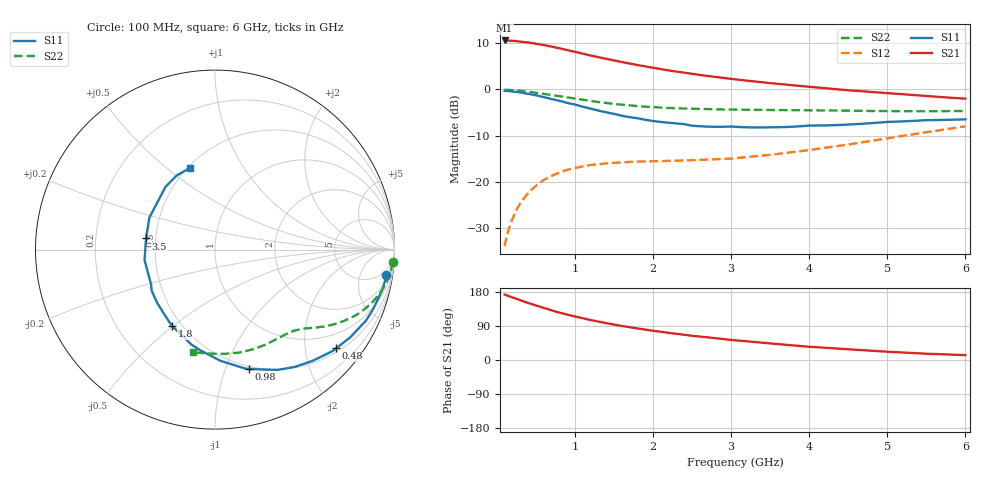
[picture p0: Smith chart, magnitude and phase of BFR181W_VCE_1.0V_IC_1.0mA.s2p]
! Infineon Technologies  Discrete & RF Semiconductors
! BFR181W
! VCE =  1.0 V,  IC =  1.0 mA
! Common Emitter S-Parameters:  Nov 2015
# GHz  S  MA  R  50
!  f  S11  S21  S12  S22
! GHz  MAG  ANG  MAG  ANG  MAG  ANG  MAG  ANG
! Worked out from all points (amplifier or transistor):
!   192 points, 100 MHz to 6 GHz, reference 50 ohm
!   highest |S21| = 10.6 dB at 100 MHz (marker M1)
!   |S21| within 3 dB of that: start of sweep to 1.134 GHz
!   unconditionally stable (mu >= 1): 2.459 GHz to 4.312 GHz
!   at 440 MHz: K = 0.21, MSG = 15.9 dB, |S12| = -21.8 dB
!   at 1.7 GHz: K = 0.76, MSG = 10.6 dB, |S12| = -15.7 dB
!   at 6 GHz: K = 0.83, MSG = 3.0 dB, |S12| = -8.0 dB
!   S11 on the Smith chart (normalised r, x): 100 MHz: 3, -13; 480 MHz: 0.59, -2.69; 980 MHz: 0.48, -1.21; 1.8 GHz: 0.44, -0.50; 3.5 GHz: 0.44, +0.06; 6 GHz: 0.51, +0.60
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0.1  0.9657 -8.5  3.382 172.7  0.0202 84.1  0.9931 -4.1
0.15  0.9607 -12.9  3.37 168.8  0.0302 81.8  0.9888 -6.1
0.24  0.9417 -20.2  3.33 162.2  0.0476 77.0  0.9768 -9.7
0.4  0.898 -33.0  3.22 150.5  0.0753 69.5  0.9458 -15.5
0.48  0.8708 -39.2  3.137 145.1  0.0876 65.7  0.9262 -18.2
0.6  0.8259 -48.4  3.019 137.2  0.1045 60.9  0.8957 -21.9
0.7  0.7915 -55.6  2.904 130.8  0.116 57.1  0.8692 -24.7
0.8  0.7556 -62.5  2.792 125.1  0.1261 54.0  0.8428 -27.1
0.98  0.6913 -74.1  2.575 115.8  0.1401 48.8  0.7983 -30.9
1.1  0.6501 -81.0  2.433 110.3  0.1468 46.0  0.771 -33.0
1.2  0.6208 -87.1  2.327 105.4  0.1524 43.8  0.7492 -34.8
1.4  0.566 -98.6  2.143 97.2  0.1589 40.7  0.7129 -37.5
1.6  0.5189 -109.1  1.978 89.8  0.1632 38.6  0.6838 -39.8
1.8  0.488 -119.4  1.836 83.2  0.1658 37.5  0.6591 -42.0
2.08  0.4465 -132.6  1.669 75.0  0.1679 37.1  0.6373 -44.9
2.5  0.4053 -151.4  1.47 63.9  0.1717 38.5  0.6177 -49.1
3.1  0.3923 -175.0  1.271 51.2  0.1821 43.7  0.6038 -56.2
3.5  0.3894 170.8  1.17 43.5  0.1962 47.6  0.6003 -61.7
4.1  0.4067 150.9  1.05 33.7  0.2271 52.3  0.5927 -70.5
4.5  0.4168 139.5  0.979 28.2  0.2534 54.2  0.5891 -77.2
5.1  0.4478 126.0  0.898 20.9  0.3047 55.1  0.5815 -87.1
6  0.4752 107.0  0.794 12.8  0.3989 52.4  0.5844 -102.3
